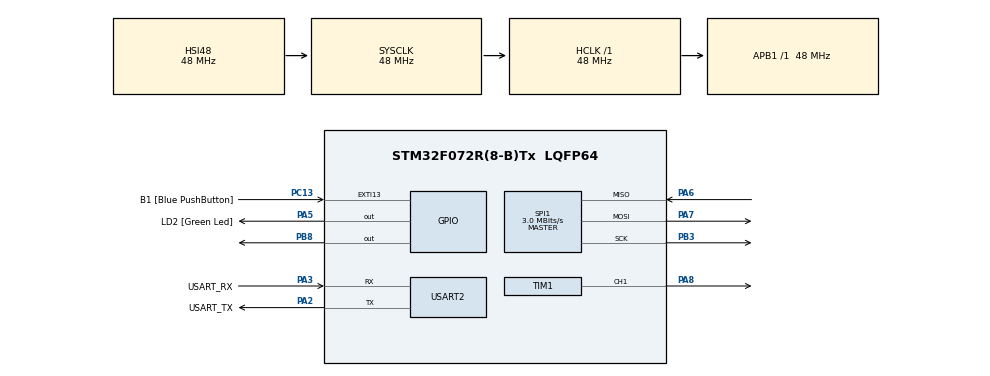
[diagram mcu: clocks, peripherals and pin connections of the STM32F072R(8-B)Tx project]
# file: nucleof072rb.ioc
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Mcu.Family=STM32F0
Mcu.Name=STM32F072R(8-B)Tx
Mcu.Package=LQFP64
PA13.GPIO_Label=TMS
PA13.Mode=Serial_Wire
PA13.Signal=SYS_SWDIO
PA14.GPIO_Label=TCK
PA14.Mode=Serial_Wire
PA14.Signal=SYS_SWCLK
PA2.GPIO_Label=USART_TX
PA2.GPIO_Mode=GPIO_MODE_AF_PP
PA2.GPIO_PuPd=GPIO_NOPULL
PA2.GPIO_Speed=GPIO_SPEED_FREQ_LOW
PA2.Mode=Asynchronous
PA2.Signal=USART2_TX
PA3.GPIO_Label=USART_RX
PA3.GPIO_Mode=GPIO_MODE_AF_PP
PA3.GPIO_PuPd=GPIO_NOPULL
PA3.GPIO_Speed=GPIO_SPEED_FREQ_LOW
PA3.Mode=Asynchronous
PA3.Signal=USART2_RX
PA5.GPIO_Label=LD2 [Green Led]
PA5.GPIO_Mode=GPIO_MODE_OUTPUT_PP
PA5.GPIO_PuPd=GPIO_NOPULL
PA5.GPIO_Speed=GPIO_SPEED_FREQ_LOW
PA5.Signal=GPIO_Output
PA6.Mode=Full_Duplex_Master
PA6.Signal=SPI1_MISO
PA7.Mode=Full_Duplex_Master
PA7.Signal=SPI1_MOSI
PA8.Signal=S_TIM1_CH1
PB3.Mode=Full_Duplex_Master
PB3.Signal=SPI1_SCK
PB8.Signal=GPIO_Output
PC13.GPIO_Label=B1 [Blue PushButton]
PC13.GPIO_ModeDefaultEXTI=GPIO_MODE_IT_FALLING
PC13.Signal=GPXTI13
PC14-OSC32_IN.Mode=LSE-External-Oscillator
PC14-OSC32_IN.Signal=RCC_OSC32_IN
PC15-OSC32_OUT.Mode=LSE-External-Oscillator
PC15-OSC32_OUT.Signal=RCC_OSC32_OUT
PF0-OSC_IN.Mode=HSE-External-Clock-Source
PF0-OSC_IN.Signal=RCC_OSC_IN
PF1-OSC_OUT.Signal=RCC_OSC_OUT
ProjectManager.HeapSize=0x200
ProjectManager.StackSize=0x400
ProjectManager.TargetToolchain=STM32CubeIDE
RCC.AHBFreq_Value=48000000
RCC.APB1Freq_Value=48000000
RCC.APB1TimFreq_Value=48000000
RCC.FLatency-AdvancedSettings=FLASH_LATENCY_1
RCC.HCLKFreq_Value=48000000
RCC.PLLDivider=RCC_PREDIV_DIV2
RCC.PLLMUL=RCC_PLL_MUL12
RCC.PREFETCH_ENABLE-AdvancedSettings=1
RCC.SYSCLKFreq_VALUE=48000000
RCC.SYSCLKSource=RCC_SYSCLKSOURCE_HSI48
SH.S_TIM1_CH1.0=TIM1_CH1,PWM Generation1 CH1
SPI1.BaudRatePrescaler=SPI_BAUDRATEPRESCALER_16
SPI1.CLKPhase=SPI_PHASE_2EDGE
SPI1.CLKPolarity=SPI_POLARITY_HIGH
SPI1.CalculateBaudRate=3.0 MBits/s
SPI1.DataSize=SPI_DATASIZE_8BIT
SPI1.Direction=SPI_DIRECTION_2LINES
SPI1.FirstBit=SPI_FIRSTBIT_LSB
SPI1.Mode=SPI_MODE_MASTER
SPI1.VirtualType=VM_MASTER
TIM1.Channel-PWM\ Generation1\ CH1=TIM_CHANNEL_1
TIM1.Period=64000
TIM1.Prescaler=14
USART2.VirtualMode=VM_ASYNC
USART2.VirtualMode-Asynchronous=VM_ASYNC
VP_TIM1_VS_ClockSourceINT.Mode=Internal
board=NUCLEO-F072RB

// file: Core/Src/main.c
/* USER CODE BEGIN Header */
/**
  ******************************************************************************
  * @file           : main.c
  * @brief          : Main program body
  ******************************************************************************
  * @attention
  *
  * <h2><center>&copy; Copyright (c) 2021 STMicroelectronics.
  * All rights reserved.</center></h2>
  *
  * This software component is licensed by ST under BSD 3-Clause license,
  * the "License"; You may not use this file except in compliance with the
  * License. You may obtain a copy of the License at:
  *                        opensource.org/licenses/BSD-3-Clause
  *
  ******************************************************************************
  */
/* USER CODE END Header */
#include "main.h"
#include "spi.h"
#include "tim.h"
#include "usart.h"
#include "gpio.h"
#include <stdio.h>

void SystemClock_Config(void);

/* USER CODE BEGIN 0 */

uint8_t tx_packet[2] = {0x01, 0x80};
uint8_t rx_packet[3];
uint16_t pot_val, min_pwm, max_pwm, pwm_val;

HAL_StatusTypeDef spi_err_code;

/* USER CODE END 0 */

int main(void)
{

  /* MCU Configuration--------------------------------------------------------*/

  /* Reset of all peripherals, Initializes the Flash interface and the Systick. */
  HAL_Init();

  /* Configure the system clock */
  SystemClock_Config();

  /* Initialize all configured peripherals */
  MX_GPIO_Init();
  MX_USART2_UART_Init();
  MX_SPI1_Init();
  MX_TIM1_Init();
  /* USER CODE BEGIN 2 */

  HAL_TIM_PWM_Start(&htim1, TIM_CHANNEL_1);

  /* USER CODE END 2 */

  /* Infinite loop */
  while (1)
  {

    /* USER CODE BEGIN 3 */

	HAL_GPIO_WritePin(GPIOB, GPIO_PIN_8, GPIO_PIN_RESET);
	spi_err_code = HAL_SPI_TransmitReceive(&hspi1, tx_packet, rx_packet, sizeof(rx_packet), 500);
	HAL_GPIO_WritePin(GPIOB, GPIO_PIN_8, GPIO_PIN_SET);

	printf("SPI Error Code: %d", spi_err_code);

	if (spi_err_code == HAL_OK) {
		pot_val = ((rx_packet[1] & 0x03) << 8) | rx_packet[2];
		min_pwm = __HAL_TIM_GET_AUTORELOAD(&htim1) * 0.05;
		max_pwm = __HAL_TIM_GET_AUTORELOAD(&htim1) * 0.1;
		pwm_val = min_pwm + (max_pwm - min_pwm) * pot_val / ((1 << 10) - 1);

		__HAL_TIM_SET_COMPARE(&htim1, TIM_CHANNEL_1, pwm_val);
	}

	HAL_Delay(10);
  }
  /* USER CODE END 3 */
}

void SystemClock_Config(void)
{
  RCC_OscInitTypeDef RCC_OscInitStruct = {0};
  RCC_ClkInitTypeDef RCC_ClkInitStruct = {0};
  RCC_PeriphCLKInitTypeDef PeriphClkInit = {0};

  /** Initializes the RCC Oscillators according to the specified parameters
  * in the RCC_OscInitTypeDef structure.
  */
  RCC_OscInitStruct.OscillatorType = RCC_OSCILLATORTYPE_HSI48;
  RCC_OscInitStruct.HSI48State = RCC_HSI48_ON;
  RCC_OscInitStruct.PLL.PLLState = RCC_PLL_NONE;
  if (HAL_RCC_OscConfig(&RCC_OscInitStruct) != HAL_OK)
  {
    Error_Handler();
  }
  /** Initializes the CPU, AHB and APB buses clocks
  */
  RCC_ClkInitStruct.ClockType = RCC_CLOCKTYPE_HCLK|RCC_CLOCKTYPE_SYSCLK
                              |RCC_CLOCKTYPE_PCLK1;
  RCC_ClkInitStruct.SYSCLKSource = RCC_SYSCLKSOURCE_HSI48;
  RCC_ClkInitStruct.AHBCLKDivider = RCC_SYSCLK_DIV1;
  RCC_ClkInitStruct.APB1CLKDivider = RCC_HCLK_DIV1;

  if (HAL_RCC_ClockConfig(&RCC_ClkInitStruct, FLASH_LATENCY_1) != HAL_OK)
  {
    Error_Handler();
  }
  PeriphClkInit.PeriphClockSelection = RCC_PERIPHCLK_USART2;
  PeriphClkInit.Usart2ClockSelection = RCC_USART2CLKSOURCE_PCLK1;
  if (HAL_RCCEx_PeriphCLKConfig(&PeriphClkInit) != HAL_OK)
  {
    Error_Handler();
  }
}

void Error_Handler(void)
{
  __disable_irq();
  while (1)
  {
  }
}

/************************ (C) COPYRIGHT STMicroelectronics *****END OF FILE****/
